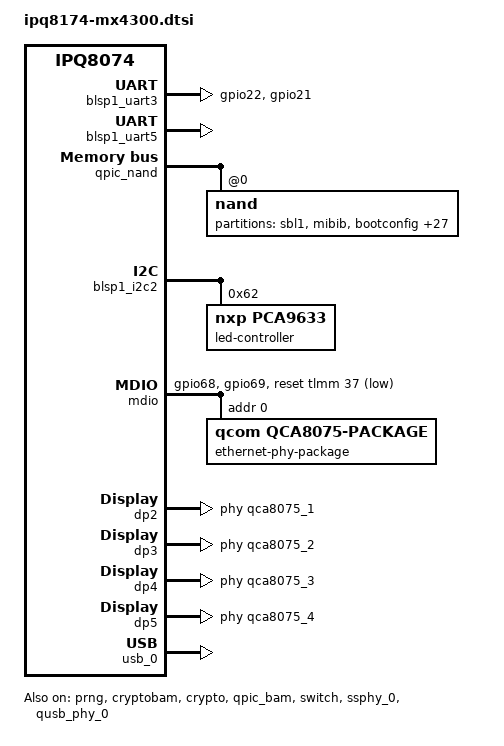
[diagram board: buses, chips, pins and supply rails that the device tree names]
// SPDX-License-Identifier: GPL-2.0-or-later OR MIT
/* Copyright (c) 2023, Mohammad Sayful Islam <Sayf.mohammad01@gmail.com> */

#include "ipq8074.dtsi"
#include "ipq8074-ac-cpu.dtsi"
#include "ipq8074-ess.dtsi"
#include "ipq8074-nss.dtsi"
#include <dt-bindings/gpio/gpio.h>
#include <dt-bindings/input/input.h>
#include <dt-bindings/leds/common.h>

/ {

	aliases {
		serial0 = &blsp1_uart5;
		serial1 = &blsp1_uart3;
		/*
		 * Aliases as required by u-boot
		 * to patch MAC addresses
		 */
		ethernet1 = &dp2;
		ethernet2 = &dp3;
		ethernet3 = &dp4;
		ethernet4 = &dp5;
		led-boot = &led_system_blue;
		led-running = &led_system_blue;
		led-failsafe = &led_system_red;
		led-upgrade = &led_system_green;
	};

	chosen {
		stdout-path = "serial0:115200n8";
		bootargs-append = " coherent_pool=2M swiotlb=noforce mitigations=off root=/dev/ubiblock0_0";
	};

/*	keys {
		compatible = "gpio-keys";
		pinctrl-0 = <&button_pins>;
		pinctrl-names = "default";

		reset-button {
			label = "reset";
			gpios = <&tlmm 52 GPIO_ACTIVE_LOW>;
			linux,code = <KEY_RESTART>;
		};

		wps-button {
			label = "wps";
			gpios = <&tlmm 67 GPIO_ACTIVE_LOW>;
			linux,code = <KEY_WPS_BUTTON>;
		};
	};*/
};

&tlmm {
	button_pins: button-state {
		pins = "gpio52", "gpio67";
		function = "gpio";
		drive-strength = <8>;
		bias-pull-up;
	};

	mdio_pins: mdio-state {
		mdc-pins {
			pins = "gpio68";
			function = "mdc";
			drive-strength = <8>;
			bias-pull-up;
		};

		mdio-pins {
			pins = "gpio69";
			function = "mdio";
			drive-strength = <8>;
			bias-pull-up;
		};
	};

	iot_pins: iot-state {
		recovery-pins {
			pins = "gpio22";
			function = "gpio";
			input;
		};

		reset-pins {
			pins = "gpio21";
			function = "gpio";
			bias-pull-up;
		};
	};
};

&blsp1_uart3 {
	status = "okay";

	pinctrl-0 = <&hsuart_pins &iot_pins>;
	pinctrl-names = "default";

	/* Silicon Labs EFR32MG21 IoT */
};

&blsp1_uart5 {
	status = "okay";
};

&prng {
	status = "okay";
};

&cryptobam {
	status = "okay";
};

&crypto {
	status = "okay";
};

&qpic_bam {
	status = "okay";
};

&qpic_nand {
	status = "okay";

	/*
	 * Bootloader will find the NAND DT node by the compatible and
	 * then "fixup" it by adding the partitions from the SMEM table
	 * using the legacy bindings thus making it impossible for us
	 * to change the partition table or utilize NVMEM for calibration.
	 * So add a dummy partitions node that bootloader will populate
	 * and set it as disabled so the kernel ignores it instead of
	 * printing warnings due to the broken way bootloader adds the
	 * partitions.
	 */
	partitions {
		status = "disabled";
	};

	nand@0 {
		reg = <0>;
/*		nand-ecc-strength = <4>;
		nand-ecc-step-size = <512>;*/
		nand-bus-width = <8>;

		partitions {
			compatible = "fixed-partitions";
			#address-cells = <1>;
			#size-cells = <1>;

			partition@0 {
				label = "sbl1";
				reg = <0x0 0x100000>;
				read-only;
			};

			partition@100000 {
				label = "mibib";
				reg = <0x100000 0x100000>;
				read-only;
			};

			partition@200000 {
				label = "bootconfig";
				reg = <0x200000 0x80000>;
				read-only;
			};

			partition@280000 {
				label = "bootconfig1";
				reg = <0x280000 0x80000>;
				read-only;
			};

			partition@300000 {
				label = "qsee";
				reg = <0x300000 0x300000>;
				read-only;
			};

			partition@600000 {
				label = "qsee_1";
				reg = <0x600000 0x300000>;
				read-only;
			};

			partition@900000 {
				label = "devcfg";
				reg = <0x900000 0x80000>;
				read-only;
			};

			partition@980000 {
				label = "devcfg_1";
				reg = <0x980000 0x80000>;
				read-only;
			};

			partition@a00000 {
				label = "apdp";
				reg = <0xa00000 0x80000>;
				read-only;
			};

			partition@a80000 {
				label = "apdp_1";
				reg = <0xa80000 0x80000>;
				read-only;
			};

			partition@b00000 {
				label = "rpm";
				reg = <0xb00000 0x80000>;
				read-only;
			};

			partition@b80000 {
				label = "rpm_1";
				reg = <0xb80000 0x80000>;
				read-only;
			};

			partition@c00000 {
				label = "cdt";
				reg = <0xc00000 0x80000>;
				read-only;
			};

			partition@c80000 {
				label = "cdt_1";
				reg = <0xc80000 0x80000>;
				read-only;
			};

			partition@d00000 {
				label = "appsblenv";
				reg = <0xd00000 0x80000>;
			};

			partition@d80000 {
				label = "appsbl";
				reg = <0xd80000 0x100000>;
				read-only;
			};

			partition@e80000 {
				label = "appsbl_1";
				reg = <0xe80000 0x100000>;
				read-only;
			};

			partition@f80000 {
				label = "art";
				reg = <0xf80000 0x80000>;
				read-only;
			};

			partition@1000000 {
				label = "u_env";
				reg = <0x1000000 0x100000>;
			};

			partition@1100000 {
				label = "s_env";
				reg = <0x1100000 0x100000>;
			};

			partition@1200000 {
				label = "devinfo";
				reg = <0x1200000 0x40000>;
				read-only;
			};

			partition@1240000 {
				label = "linux";
				reg = <0x1240000 0xAF40000>;
			};

			partition@1a40000 {
				label = "rootfs";
				reg = <0x1a40000 0xa740000>;
			};

			partition@c180000 {
				label = "linux2";
				reg = <0xc180000 0xAe40000>;
			};

			partition@c980000 {
				label = "alt_rootfs";
				reg = <0xc980000 0xa640000>;
			};

			partition@16fc0000 {
				label = "nvram";
				reg = <0x16fc0000 0x100000>;
			};

			partition@170c0000 {
				label = "oops";
				reg = <0x170c0000 0x400000>;
			};
			
			partition@174c0000 {
				label = "ethphyfw";
				reg = <0x174c0000 0x80000>;
				read-only;
			};
			partition@1f300000 {
				label = "wififw";
				reg = <0x1f300000 0x1900000>;
				read-only;
			};
			partition@20c00000 {
				label = "ddwrt";
				reg = <0x20c00000 0x1f400000>;
			};
		};
	};
};

&blsp1_i2c2 {
	status = "okay";

	led-controller@62 {
		compatible = "nxp,pca9633";
		#address-cells = <1>;
		#size-cells = <0>;
		reg = <0x62>;
		nxp,hw-blink;

		led_system_red: led@0 {
			reg = <0>;
			color = <LED_COLOR_ID_RED>;
			function = LED_FUNCTION_STATUS;
		};

		led_system_green: led@1 {
			reg = <1>;
			color = <LED_COLOR_ID_GREEN>;
			function = LED_FUNCTION_STATUS;
		};

		led_system_blue: led@2 {
			reg = <2>;
			color = <LED_COLOR_ID_BLUE>;
			function = LED_FUNCTION_STATUS;
		};
	};
};

&mdio {
	status = "okay";

	pinctrl-0 = <&mdio_pins>;
	pinctrl-names = "default";
	reset-gpios = <&tlmm 37 GPIO_ACTIVE_LOW>;

	ethernet-phy-package@0 {
		#address-cells = <1>;
		#size-cells = <0>;
		compatible = "qcom,qca8075-package";
		reg = <0>;

		qca8075_1: ethernet-phy@1 {
			compatible = "ethernet-phy-ieee802.3-c22";
			reg = <1>;
		};

		qca8075_2: ethernet-phy@2 {
			compatible = "ethernet-phy-ieee802.3-c22";
			reg = <2>;
		};

		qca8075_3: ethernet-phy@3 {
			compatible = "ethernet-phy-ieee802.3-c22";
			reg = <3>;
		};

		qca8075_4: ethernet-phy@4 {
			compatible = "ethernet-phy-ieee802.3-c22";
			reg = <4>;
		};
	};
};

&switch {
	status = "okay";

	switch_lan_bmp = <(ESS_PORT3 | ESS_PORT4 | ESS_PORT5)>; /* lan port bitmap */
	switch_wan_bmp = <ESS_PORT2>; /* wan port bitmap */
	switch_mac_mode = <MAC_MODE_PSGMII>; /* mac mode for uniphy instance0*/

	qcom,port_phyinfo {
		port@2 {
			port_id = <2>;
			phy_address = <1>;
		};
		port@3 {
			port_id = <3>;
			phy_address = <2>;
		};
		port@4 {
			port_id = <4>;
			phy_address = <3>;
		};
		port@5 {
			port_id = <5>;
			phy_address = <4>;
		};
	};
};

&edma {
	status = "okay";
};

&dp2 {
	status = "okay";
	phy-handle = <&qca8075_1>;
	label = "eth0";
};

&dp3 {
	status = "okay";
	phy-handle = <&qca8075_2>;
	label = "eth1";
};

&dp4 {
	status = "okay";
	phy-handle = <&qca8075_3>;
	label = "eth2";
};

&dp5 {
	status = "okay";
	phy-handle = <&qca8075_4>;
	label = "eth3";
};

&ssphy_0 {
	status = "okay";
};

&qusb_phy_0 {
	status = "okay";
};

&usb_0 {
	status = "okay";
};

